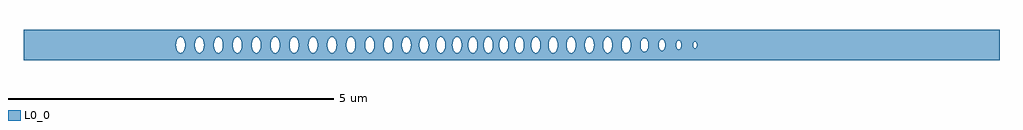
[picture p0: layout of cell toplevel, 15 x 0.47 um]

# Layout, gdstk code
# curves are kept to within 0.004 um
import gdstk
lib = gdstk.Library(unit=1e-6, precision=1e-09)
def P(c, l, *ps):  # polygons
    for p in ps: c.add(gdstk.Polygon(p, *l))
L0_0 = (0, 0)

toplevel = lib.new_cell('toplevel')
P(toplevel, L0_0, [(-4.559,-0.235),(-4.559,-0.079),(-4.575,-0.008),(-4.573,0.031),(-4.559,0.078),(-4.559,0.235),(-7.5,0.235),(-7.5,-0.008),(-5.157,-0.008),(-5.155,0.031),(-5.141,0.079),(-5.12,0.109),(-5.091,0.124),(-5.064,0.118),(-5.041,0.096),(-5.022,0.053),(-5.016,-0.008),(-4.866,-0.008),(-4.864,0.031),(-4.85,0.079),(-4.829,0.109),(-4.8,0.124),(-4.774,0.118),(-4.75,0.096),(-4.738,0.073),(-4.725,0.016),(-4.728,-0.038),(-4.738,-0.073),(-4.761,-0.109),(-4.791,-0.124),(-4.817,-0.118),(-4.844,-0.09),(-4.861,-0.046),(-4.866,-0.008),(-5.016,-0.008),(-5.022,-0.053),(-5.041,-0.096),(-5.064,-0.118),(-5.082,-0.124),(-5.108,-0.118),(-5.131,-0.096),(-5.148,-0.06),(-5.157,-0.008),(-7.5,-0.008),(-7.5,-0.235)],
  [(-4.556,0.085),(-4.526,0.118),(-4.509,0.124),(-4.491,0.122),(-4.467,0.105),(-4.447,0.073),(-4.437,0.038),(-4.434,-0.008),(-4.284,-0.008),(-4.281,0.038),(-4.259,0.096),(-4.227,0.122),(-4.2,0.122),(-4.176,0.105),(-4.159,0.079),(-4.145,0.031),(-4.143,-0.008),(-4.148,-0.046),(-4.162,-0.085),(-4.18,-0.109),(-4.209,-0.124),(-4.235,-0.118),(-4.259,-0.096),(-4.279,-0.046),(-4.284,-0.008),(-4.434,-0.008),(-4.447,-0.073),(-4.463,-0.1),(-4.483,-0.118),(-4.5,-0.124),(-4.526,-0.118),(-4.559,-0.079),(-4.559,-0.235),(-3.914,-0.235),(-3.914,-0.123),(-3.936,-0.122),(-3.968,-0.096),(-3.98,-0.073),(-3.993,-0.016),(-3.99,0.038),(-3.968,0.096),(-3.944,0.118),(-3.914,0.123),(-3.914,0.235),(-4.559,0.235)],
  [(-3.914,0.235),(-3.914,0.123),(-3.889,0.109),(-3.868,0.079),(-3.854,0.031),(-3.853,-0.016),(-3.702,-0.016),(-3.699,0.038),(-3.689,0.073),(-3.666,0.109),(-3.636,0.124),(-3.61,0.118),(-3.587,0.096),(-3.57,0.06),(-3.561,0.008),(-3.566,-0.046),(-3.58,-0.085),(-3.598,-0.109),(-3.627,-0.124),(-3.654,-0.118),(-3.677,-0.096),(-3.694,-0.06),(-3.702,-0.016),(-3.853,-0.016),(-3.871,-0.085),(-3.889,-0.109),(-3.914,-0.123),(-3.914,-0.235),(-3.281,-0.235),(-3.281,-0.067),(-3.307,-0.109),(-3.328,-0.122),(-3.354,-0.122),(-3.375,-0.109),(-3.392,-0.085),(-3.405,-0.053),(-3.411,-0.016),(-3.403,0.06),(-3.386,0.096),(-3.363,0.118),(-3.345,0.124),(-3.319,0.118),(-3.296,0.096),(-3.281,0.066),(-3.281,0.235)],
  [(-2.538,-0.235),(-2.538,0.235),(-3.281,0.235),(-3.281,0.065),(-3.271,-0.016),(-3.12,-0.016),(-3.116,0.046),(-3.107,0.073),(-3.084,0.109),(-3.054,0.124),(-3.028,0.118),(-3.005,0.096),(-2.986,0.053),(-2.98,0),(-2.83,0),(-2.825,0.046),(-2.811,0.085),(-2.793,0.109),(-2.764,0.124),(-2.737,0.118),(-2.714,0.096),(-2.697,0.06),(-2.689,0.016),(-2.692,-0.038),(-2.702,-0.073),(-2.725,-0.109),(-2.755,-0.124),(-2.781,-0.118),(-2.811,-0.085),(-2.825,-0.046),(-2.83,0),(-2.98,0),(-2.986,-0.053),(-2.999,-0.085),(-3.016,-0.109),(-3.046,-0.124),(-3.072,-0.118),(-3.095,-0.096),(-3.11,-0.067),(-3.12,-0.016),(-3.271,-0.016),(-3.281,-0.066),(-3.281,-0.235)],
  [(-2.537,0.023),(-2.53,0.06),(-2.513,0.096),(-2.49,0.118),(-2.464,0.124),(-2.434,0.109),(-2.417,0.085),(-2.401,0.038),(-2.398,-0.008),(-2.249,-0.008),(-2.246,0.038),(-2.23,0.085),(-2.209,0.112),(-2.174,0.124),(-2.145,0.109),(-2.127,0.085),(-2.113,0.046),(-2.108,-0.008),(-2.113,-0.046),(-2.127,-0.085),(-2.145,-0.109),(-2.174,-0.124),(-2.2,-0.118),(-2.227,-0.09),(-2.244,-0.046),(-2.249,-0.008),(-2.398,-0.008),(-2.403,-0.046),(-2.423,-0.096),(-2.446,-0.118),(-2.464,-0.124),(-2.49,-0.118),(-2.513,-0.096),(-2.53,-0.06),(-2.538,-0.018),(-2.538,-0.235),(-1.931,-0.235),(-1.931,-0.105),(-1.955,-0.06),(-1.963,-0.016),(-1.957,0.053),(-1.931,0.105),(-1.931,0.235),(-2.538,0.235)],
  [(-1.915,0.118),(-1.88,0.122),(-1.848,0.096),(-1.827,0.046),(-1.823,-0.016),(-1.685,-0.016),(-1.679,0.053),(-1.66,0.096),(-1.637,0.118),(-1.602,0.122),(-1.577,0.105),(-1.56,0.079),(-1.549,0.046),(-1.544,-0.008),(-1.549,-0.046),(-1.563,-0.085),(-1.581,-0.109),(-1.61,-0.124),(-1.637,-0.118),(-1.66,-0.096),(-1.677,-0.06),(-1.685,-0.016),(-1.823,-0.016),(-1.833,-0.066),(-1.859,-0.109),(-1.88,-0.122),(-1.897,-0.124),(-1.931,-0.105),(-1.931,-0.235),(-1.308,-0.235),(-1.308,-0.105),(-1.341,-0.124),(-1.359,-0.122),(-1.38,-0.109),(-1.403,-0.073),(-1.416,-0.016),(-1.41,0.053),(-1.384,0.105),(-1.35,0.124),(-1.328,0.12),(-1.308,0.105),(-1.308,0.235),(-1.931,0.235),(-1.931,0.105)],
  [(-0.906,0.023),(-0.899,0.06),(-0.882,0.096),(-0.859,0.118),(-0.841,0.124),(-0.815,0.118),(-0.792,0.096),(-0.775,0.06),(-0.768,0.023),(-0.768,0.235),(-1.308,0.235),(-1.308,0.105),(-1.294,0.085),(-1.28,0.046),(-1.276,-0.016),(-1.157,-0.016),(-1.154,0.038),(-1.144,0.073),(-1.121,0.109),(-1.091,0.124),(-1.065,0.118),(-1.038,0.09),(-1.021,0.046),(-1.016,0.008),(-1.018,-0.031),(-1.032,-0.079),(-1.053,-0.109),(-1.082,-0.124),(-1.108,-0.118),(-1.132,-0.096),(-1.144,-0.073),(-1.157,-0.016),(-1.276,-0.016),(-1.286,-0.066),(-1.308,-0.105),(-1.308,-0.235),(-0.768,-0.235),(-0.768,-0.026),(-0.782,-0.079),(-0.799,-0.105),(-0.824,-0.122),(-0.85,-0.122),(-0.875,-0.105),(-0.894,-0.073),(-0.907,-0.016)],
  [(-0.768,-0.023),(-0.768,-0.235),(-0.178,-0.235),(-0.178,-0.066),(-0.189,-0.016),(-0.187,0.031),(-0.178,0.065),(-0.178,0.235),(-0.768,0.235),(-0.766,-0.008),(-0.665,-0.008),(-0.66,0.046),(-0.646,0.085),(-0.616,0.118),(-0.59,0.124),(-0.56,0.109),(-0.537,0.073),(-0.527,0.038),(-0.524,-0.016),(-0.426,-0.016),(-0.42,0.053),(-0.394,0.105),(-0.36,0.124),(-0.343,0.122),(-0.322,0.109),(-0.294,0.06),(-0.286,-0.016),(-0.304,-0.085),(-0.338,-0.12),(-0.369,-0.122),(-0.394,-0.105),(-0.418,-0.06),(-0.426,-0.016),(-0.524,-0.016),(-0.532,-0.06),(-0.549,-0.096),(-0.572,-0.118),(-0.59,-0.124),(-0.616,-0.118),(-0.639,-0.096),(-0.656,-0.06),(-0.665,-0.008),(-0.766,-0.008)],
  [(0.304,0.016),(0.316,0.073),(0.329,0.096),(0.352,0.118),(0.378,0.124),(0.378,0.235),(-0.178,0.235),(-0.178,0.066),(-0.164,0.096),(-0.145,0.115),(-0.123,0.124),(-0.097,0.118),(-0.074,0.096),(-0.059,0.066),(-0.049,0.023),(-0.049,-0.016),(0.052,-0.016),(0.056,0.046),(0.065,0.073),(0.088,0.109),(0.118,0.124),(0.144,0.118),(0.167,0.096),(0.184,0.06),(0.192,0.016),(0.188,-0.046),(0.179,-0.073),(0.16,-0.105),(0.131,-0.123),(0.104,-0.12),(0.077,-0.096),(0.06,-0.06),(0.052,-0.016),(-0.049,-0.016),(-0.053,-0.046),(-0.07,-0.09),(-0.085,-0.109),(-0.114,-0.124),(-0.132,-0.122),(-0.153,-0.109),(-0.178,-0.067),(-0.178,-0.235),(0.378,-0.235),(0.378,-0.124),(0.343,-0.112),(0.322,-0.085),(0.306,-0.038)],
  [(0.378,0.235),(0.378,0.124),(0.407,0.109),(0.425,0.085),(0.441,0.038),(0.444,0),(0.569,0),(0.574,0.046),(0.589,0.085),(0.606,0.109),(0.636,0.124),(0.662,0.118),(0.685,0.096),(0.702,0.06),(0.71,0.016),(0.707,-0.038),(0.697,-0.073),(0.674,-0.109),(0.644,-0.124),(0.618,-0.118),(0.595,-0.096),(0.574,-0.046),(0.569,0),(0.444,0),(0.441,-0.038),(0.425,-0.085),(0.407,-0.109),(0.378,-0.124),(0.378,-0.235),(0.972,-0.235),(0.972,-0.079),(0.939,-0.118),(0.922,-0.124),(0.895,-0.118),(0.879,-0.105),(0.86,-0.073),(0.847,-0.016),(0.855,0.06),(0.883,0.109),(0.904,0.122),(0.93,0.122),(0.955,0.105),(0.972,0.079),(0.972,0.235)],
  [(0.987,-0.016),(0.972,-0.079),(0.972,-0.235),(1.692,-0.235),(1.692,0.235),(0.972,0.235),(0.972,0.078),(0.983,0.046),(0.988,0),(1.127,0),(1.132,0.046),(1.153,0.096),(1.176,0.118),(1.202,0.124),(1.232,0.109),(1.249,0.085),(1.262,0.053),(1.268,-0.008),(1.408,-0.008),(1.413,0.046),(1.437,0.1),(1.457,0.118),(1.474,0.124),(1.505,0.115),(1.524,0.096),(1.536,0.073),(1.546,0.038),(1.549,-0.016),(1.53,-0.085),(1.513,-0.109),(1.492,-0.122),(1.465,-0.122),(1.434,-0.096),(1.417,-0.06),(1.408,-0.008),(1.268,-0.008),(1.262,-0.053),(1.243,-0.096),(1.22,-0.118),(1.202,-0.124),(1.176,-0.118),(1.153,-0.096),(1.132,-0.046),(1.127,0),(0.988,0)],
  [(2.263,0.017),(2.28,0.069),(2.309,0.089),(2.309,0.235),(1.692,0.235),(1.692,0.016),(1.7,0.06),(1.717,0.096),(1.74,0.118),(1.767,0.124),(1.796,0.109),(1.817,0.079),(1.828,0.046),(1.832,-0.013),(1.983,-0.013),(1.994,0.063),(2.014,0.093),(2.043,0.107),(2.066,0.099),(2.085,0.078),(2.1,0.039),(2.104,0.007),(2.1,-0.039),(2.09,-0.068),(2.076,-0.09),(2.055,-0.105),(2.032,-0.105),(2.011,-0.09),(1.994,-0.063),(1.983,-0.013),(1.832,-0.013),(1.828,-0.046),(1.814,-0.085),(1.796,-0.109),(1.767,-0.124),(1.74,-0.118),(1.717,-0.096),(1.7,-0.06),(1.692,-0.016),(1.692,-0.235),(2.309,-0.235),(2.309,-0.089),(2.288,-0.078),(2.27,-0.048)],
  [(2.361,-0.028),(2.34,-0.075),(2.322,-0.088),(2.309,-0.089),(2.309,-0.235),(7.5,-0.235),(7.5,0.235),(2.309,0.235),(2.309,0.089),(2.334,0.081),(2.35,0.061),(2.362,0.022),(2.362,-0.013),(2.53,-0.013),(2.537,0.042),(2.548,0.061),(2.568,0.072),(2.588,0.065),(2.602,0.046),(2.61,-0.01),(2.79,-0.01),(2.795,0.032),(2.817,0.054),(2.837,0.046),(2.85,0.017),(2.851,-0.01),(2.844,-0.035),(2.824,-0.054),(2.802,-0.044),(2.79,-0.01),(2.61,-0.01),(2.602,-0.046),(2.588,-0.065),(2.573,-0.072),(2.548,-0.061),(2.53,-0.013),(2.362,-0.013)])

lib.write_gds('toplevel.gds')
